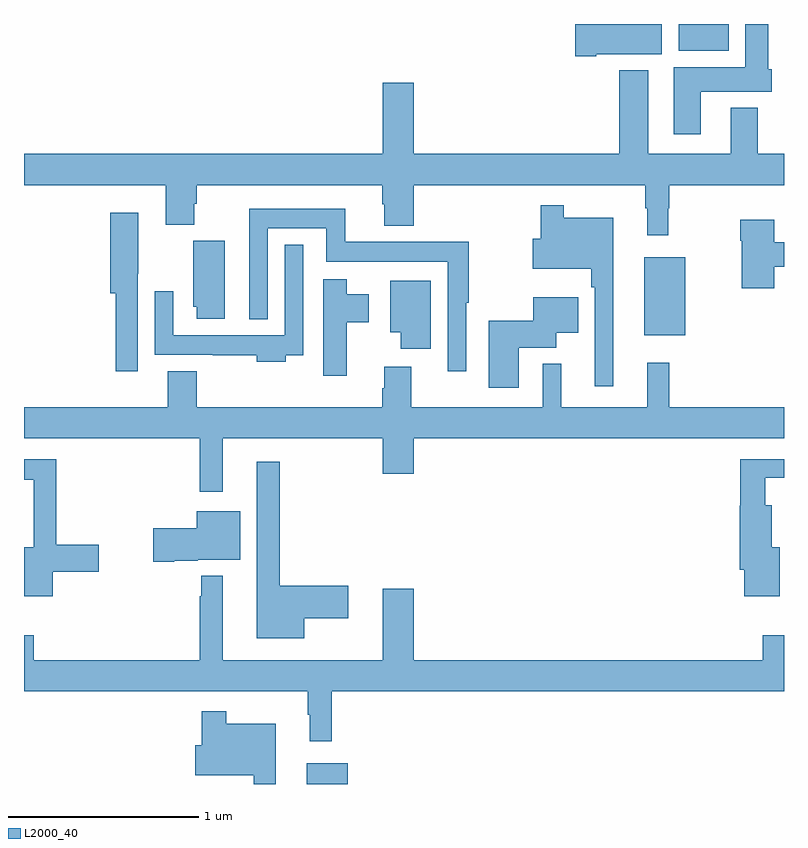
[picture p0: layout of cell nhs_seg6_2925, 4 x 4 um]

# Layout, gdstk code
import gdstk
lib = gdstk.Library(unit=1e-6, precision=1e-09)
def R(c, l, rs):  # rectangles x0, y0, x1, y1
    for r in rs: c.add(gdstk.rectangle(r[:2], r[2:], *l))
def P(c, l, *ps):  # polygons
    for p in ps: c.add(gdstk.Polygon(p, *l))
L2000_40 = (2000, 40)

nhs_seg6_2925 = lib.new_cell('nhs_seg6_2925')
R(nhs_seg6_2925, L2000_40, [(284.489,961.5,284.704,961.609), (286.265,963.863,286.48,964.273), (286.445,965.36,286.708,965.5)])
P(nhs_seg6_2925, L2000_40, [(286.561,965.144),(286.936,965.144),(286.936,965.262),(286.918,965.262),(286.918,965.5),(286.796,965.5),(286.796,965.272),(286.421,965.272),(286.421,964.92),(286.561,964.92)],
  [(286.012,965.342),(286.357,965.342),(286.357,965.5),(285.9,965.5),(285.9,965.33),(286.012,965.33)],
  [(286.39,964.529),(286.397,964.529),(286.397,964.652),(287,964.652),(287,964.816),(286.861,964.816),(286.861,965.059),(286.721,965.059),(286.721,964.816),(286.285,964.816),(286.285,965.257),(286.133,965.257),(286.133,964.816),(285.052,964.816),(285.052,965.191),(284.888,965.191),(284.888,964.816),(283,964.816),(283,964.652),(283.745,964.652),(283.745,964.444),(283.897,964.444),(283.897,964.553),(283.91,964.553),(283.91,964.652),(284.885,964.652),(284.885,964.551),(284.897,964.551),(284.897,964.439),(285.05,964.439),(285.05,964.652),(286.269,964.652),(286.269,964.529),(286.28,964.529),(286.28,964.389),(286.39,964.389)],
  [(286.102,964.48),(285.841,964.48),(285.841,964.546),(285.72,964.546),(285.72,964.369),(285.678,964.369),(285.678,964.211),(285.985,964.211),(285.985,964.115),(286.005,964.115),(286.005,963.594),(286.102,963.594)],
  [(285.327,964.033),(285.34,964.033),(285.34,964.354),(284.69,964.354),(284.69,964.528),(284.186,964.528),(284.186,963.947),(284.283,963.947),(284.283,964.424),(284.592,964.424),(284.592,964.25),(285.231,964.25),(285.231,963.672),(285.327,963.672)],
  [(283.599,964.186),(283.6,964.186),(283.6,964.507),(283.454,964.507),(283.454,964.082),(283.483,964.082),(283.483,963.672),(283.599,963.672)],
  [(286.949,964.222),(287,964.222),(287,964.351),(286.949,964.351),(286.949,964.471),(286.771,964.471),(286.771,964.358),(286.778,964.358),(286.778,964.11),(286.949,964.11)],
  [(284.056,964.359),(283.892,964.359),(283.892,964.011),(283.91,964.011),(283.91,963.948),(284.056,963.948)],
  [(284.377,963.756),(284.469,963.756),(284.469,964.339),(284.373,964.339),(284.373,963.862),(283.785,963.862),(283.785,964.093),(283.689,964.093),(283.689,963.758),(283.993,963.758),(283.993,963.756),(284.225,963.756),(284.225,963.722),(284.377,963.722)],
  [(284.698,963.931),(284.815,963.931),(284.815,964.078),(284.698,964.078),(284.698,964.156),(284.576,964.156),(284.576,963.648),(284.698,963.648)],
  [(285.142,964.15),(284.927,964.15),(284.927,963.878),(284.984,963.878),(284.984,963.792),(285.142,963.792)],
  [(285.604,963.797),(285.802,963.797),(285.802,963.875),(285.916,963.875),(285.916,964.063),(285.68,964.063),(285.68,963.937),(285.446,963.937),(285.446,963.585),(285.604,963.585)],
  [(284.047,963.32),(284.888,963.32),(284.888,963.132),(285.052,963.132),(285.052,963.32),(287,963.32),(287,963.484),(286.397,963.484),(286.397,963.718),(286.28,963.718),(286.28,963.484),(285.827,963.484),(285.827,963.712),(285.729,963.712),(285.729,963.484),(285.037,963.484),(285.037,963.697),(284.897,963.697),(284.897,963.582),(284.885,963.582),(284.885,963.484),(283.91,963.484),(283.91,963.673),(283.757,963.673),(283.757,963.484),(283,963.484),(283,963.32),(283.926,963.32),(283.926,963.039),(284.047,963.039)],
  [(283.15,962.617),(283.393,962.617),(283.393,962.759),(283.169,962.759),(283.169,963.21),(283,963.21),(283,963.102),(283.052,963.102),(283.052,962.746),(283,962.746),(283,962.489),(283.15,962.489)],
  [(286.978,962.746),(286.936,962.746),(286.936,962.968),(286.9,962.968),(286.9,963.113),(287,963.113),(287,963.21),(286.771,963.21),(286.771,962.964),(286.766,962.964),(286.766,962.628),(286.79,962.628),(286.79,962.489),(286.978,962.489)],
  [(284.476,962.372),(284.707,962.372),(284.707,962.543),(284.347,962.543),(284.347,963.196),(284.225,963.196),(284.225,962.267),(284.476,962.267)],
  [(283.792,962.675),(283.914,962.675),(283.914,962.681),(284.137,962.681),(284.137,962.935),(283.91,962.935),(283.91,962.847),(283.68,962.847),(283.68,962.669),(283.792,962.669)],
  [(284.621,961.988),(287,961.988),(287,962.284),(286.889,962.284),(286.889,962.152),(285.052,962.152),(285.052,962.527),(284.888,962.527),(284.888,962.152),(284.047,962.152),(284.047,962.596),(283.933,962.596),(283.933,962.489),(283.926,962.489),(283.926,962.152),(283.052,962.152),(283.052,962.284),(283,962.284),(283,961.988),(284.493,961.988),(284.493,961.865),(284.504,961.865),(284.504,961.725),(284.621,961.725)],
  [(284.326,961.816),(284.065,961.816),(284.065,961.882),(283.936,961.882),(283.936,961.705),(283.902,961.705),(283.902,961.547),(284.209,961.547),(284.209,961.5),(284.326,961.5)])

lib.write_gds('nhs_seg6_2925.gds')
